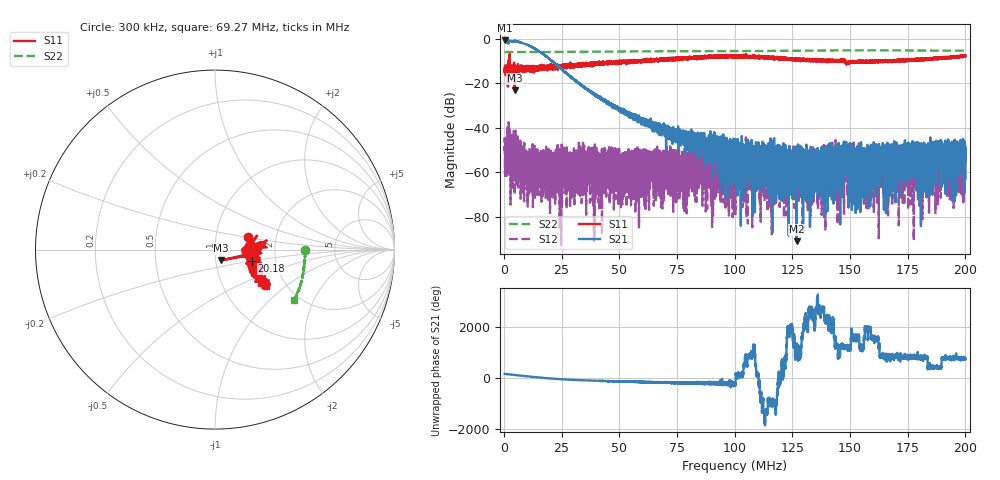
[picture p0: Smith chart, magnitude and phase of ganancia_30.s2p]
# Hz S DB R 50
! CMT, M5065, 19127446, 24.2.4/2
! Date: 11/8/2024 6:39:08 PM
! Data: Format (Calibration Info)
! Freq	S11:dB/Ang(F2)	S21:dB/Ang(F2)	S12:dB/Ang(F2)	S22:dB/Ang(F2)
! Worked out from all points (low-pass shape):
!   9000 points, 300 kHz to 200 MHz, reference 50 ohm
!   highest |S21| = -0.78 dB at 366.6 kHz (marker M1); lowest = -91.1 dB at 126.8 MHz (marker M2)
!   |S21| within 3 dB of the highest: start of sweep to 12.18 MHz
!   lowest |S11| = -23.2 dB at 4.738 MHz (marker M3), VSWR 1.15, Z = 53.2 - j6.37 ohm
!   |S11| at or under -10 dB: 2.551 MHz to 46.17 MHz (43.62 MHz wide, 179 % of centre); 46.17 MHz to 48.92 MHz (2.747 MHz wide, 5.78 % of centre); 147.8 MHz to 151.3 MHz (3.56 MHz wide, 2.38 % of centre)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
!   |S22| runs from -6.0 to -5.2 dB; largest |S21 - S12| = 0.92
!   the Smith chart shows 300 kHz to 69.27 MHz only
!   S11 on the Smith chart (normalised r, x): 300 kHz: 1.43, +0.21; 20.18 MHz: 1.50, -0.20; 69.27 MHz: 1.60, -0.73
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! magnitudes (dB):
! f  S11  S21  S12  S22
! 300 kHz  -14.2  -0.8  -48.3  -6.0
! 366.6 kHz  -14.7  -0.8  -44.8  -6.0
! 4.738 MHz  -23.2  -1.0  -51.1  -6.0
! 9.709 MHz  -13.8  -2.6  -63.2  -6.0
! 20.18 MHz  -13.3  -9.5  -67.1  -5.9
! 33.59 MHz  -12.3  -20.8  -58.1  -5.9
! 66.87 MHz  -9.2  -40.7  -52.3  -5.7
! 69.27 MHz  -9.1  -42.6  -65.8  -5.6
! 100.2 MHz  -8.3  -52.8  -65.2  -5.6
! 113.1 MHz  -8.8  -60.5  -63.2  -5.5
! 115.3 MHz  -8.6  -55.5  -58.4  -5.5
! 126.8 MHz  -9.6  -91.1  -51.6  -5.4
! 133.4 MHz  -9.8  -59.2  -56.5  -5.3
! 142.8 MHz  -10.2  -52.5  -61.4  -5.2
! 144.9 MHz  -9.8  -55.2  -62.4  -5.2
! 147.6 MHz  -10.2  -48.4  -51.5  -5.2
! 151.7 MHz  -10.3  -50.3  -49.9  -5.2
! 163.3 MHz  -9.8  -51.1  -53.5  -5.2
! 166.7 MHz  -9.7  -53.2  -52.0  -5.2
! 177.8 MHz  -9.5  -54.2  -53.4  -5.3
! 193 MHz  -8.5  -60.9  -52.9  -5.4
! 200 MHz  -7.6  -51.2  -52.4  -5.4
